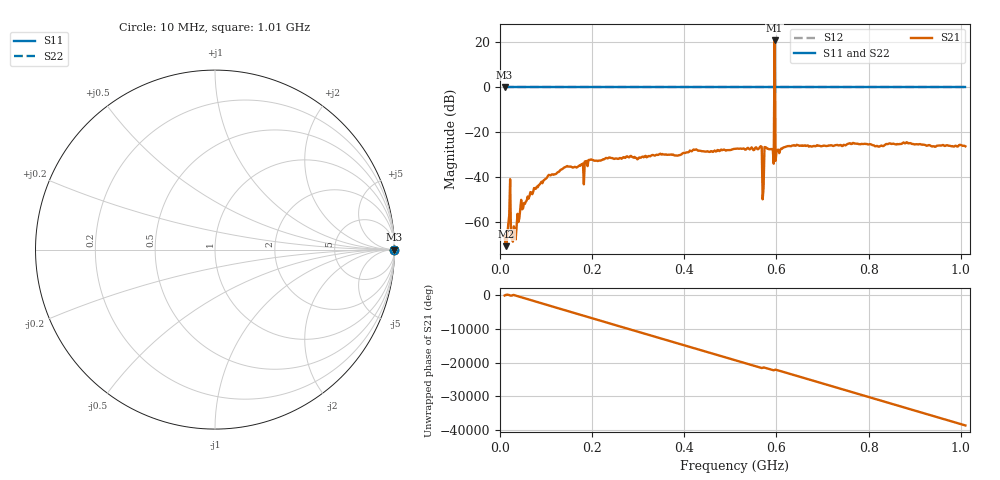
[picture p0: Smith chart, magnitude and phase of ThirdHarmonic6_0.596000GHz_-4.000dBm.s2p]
! 8/15/2025 7:23:34 PM
! C:\ANRITSUVNA\TEMP\TEMP.S2P
! CHANNEL.1
! TR.MEASUREMENT
! RAW.DATA
! RF.CORRECTION.OFF
! AVERAGING.OFF
! IF.BANDWIDTH: 5KHZ
! SWEEPTYPE:  FREQ.SWEEP(Linear)
! Reference Plane Port Info
! PORT:  PORT1  PORT2
! DISTANCE:  0  m  0  m
! TIME:  0  s  0  s
! PHASE.OFFSET:  0  deg.  0  deg.
! LOSS:  0  dB  0  dB
! REF.LOSS:  0  dB  0  dB
! REF.FREQ:  0  Hz  0  Hz
! Power Info
! POWER:  -20  dBm  -20  dBm
! EFF.POWER:  -20  dBm  -20  dBm
! SOURCE.ATTEN:  0  dB  0  dB
! TEST.ATTEN:  0  dB  0  dB
# GHZ S RI R 50.0
! FREQ.GHZ  S11RE  S11IM  S21RE  S21IM  S12RE  S12IM  S22RE  S22IM
!; PortSelection: Port_12
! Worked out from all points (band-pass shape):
!   501 points, 10 MHz to 1.01 GHz, reference 50 ohm
!   highest |S21| = 20.65 dB at 596 MHz (marker M1); lowest = -70.9 dB at 14 MHz (marker M2)
!   |S21| within 3 dB of the highest: 595.8906 MHz to 596.112 MHz (221.4 kHz wide, 0.0371 % of centre)
!   lowest |S11| = 0.0 dB at 10 MHz (marker M3)
!   |S11| at or under -10 dB: nowhere
!   |S22| runs from 0.0 to 0.0 dB; largest |S21 - S12| = 11
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0.01  1 0  0.000273 -0.000412  1 0  1 0
0.014  1 0  -3.89e-05 0.000284  1 0  1 0
0.02  1 0  0.000184 0.00137  1 0  1 0
0.03  1 0  -0.000216 0.00076  1 0  1 0
0.048  1 0  0.000654 0.00177  1 0  1 0
0.102  1 0  0.00855 0.00438  1 0  1 0
0.178  1 0  -0.0186 -0.00357  1 0  1 0
0.196  1 0  -0.0239 0.00159  1 0  1 0
0.344  1 0  0.0296 -0.00885  1 0  1 0
0.51  1 0  -0.0366 0.0202  1 0  1 0
0.564  1 0  -0.0367 0.0279  1 0  1 0
0.568  1 0  0.043 -0.0172  1 0  1 0
0.574  1 0  -0.00105 0.0459  1 0  1 0
0.578  1 0  0.0159 -0.0415  1 0  1 0
0.59  1 0  -0.0408 0.00667  1 0  1 0
0.592  1 0  -0.0028 0.0408  1 0  1 0
0.596  1 0  -6.974 8.215  1 0  1 0
0.6  1 0  -0.025 0.0257  1 0  1 0
0.602  1 0  0.0216 0.0331  1 0  1 0
0.678  1 0  -0.0294 -0.0372  1 0  1 0
0.844  1 0  0.0473 0.0278  1 0  1 0
1.01  1 0  -0.0476 0.00158  1 0  1 0
